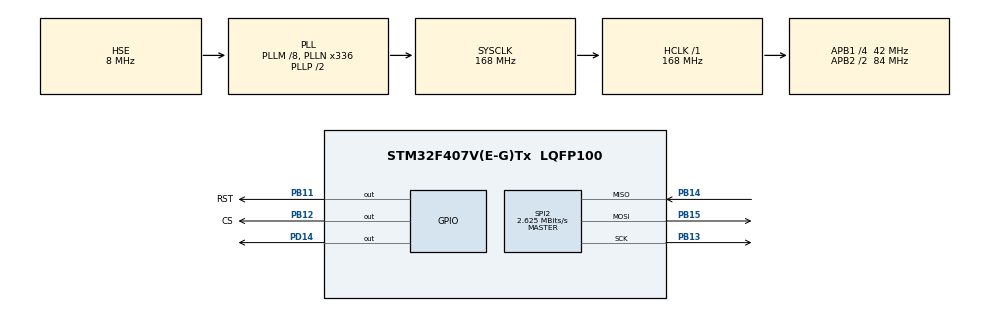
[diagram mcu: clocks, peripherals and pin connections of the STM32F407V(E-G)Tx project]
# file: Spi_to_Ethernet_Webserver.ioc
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FREERTOS.Tasks01=defaultTask,24,128,StartDefaultTask,Default,NULL,Dynamic,NULL,NULL
Mcu.Family=STM32F4
Mcu.Name=STM32F407V(E-G)Tx
Mcu.Package=LQFP100
NVIC.PriorityGroup=NVIC_PRIORITYGROUP_4
PA13.Mode=Trace_Asynchronous_SW
PA13.Signal=SYS_JTMS-SWDIO
PA14.Mode=Trace_Asynchronous_SW
PA14.Signal=SYS_JTCK-SWCLK
PB11.GPIO_Label=RST
PB11.GPIO_Speed=GPIO_SPEED_FREQ_HIGH
PB11.PinState=GPIO_PIN_SET
PB11.Signal=GPIO_Output
PB12.GPIO_Label=CS
PB12.GPIO_Speed=GPIO_SPEED_FREQ_HIGH
PB12.PinState=GPIO_PIN_SET
PB12.Signal=GPIO_Output
PB13.Mode=Full_Duplex_Master
PB13.Signal=SPI2_SCK
PB14.Mode=Full_Duplex_Master
PB14.Signal=SPI2_MISO
PB15.Mode=Full_Duplex_Master
PB15.Signal=SPI2_MOSI
PB3.Mode=Trace_Asynchronous_SW
PB3.Signal=SYS_JTDO-SWO
PD14.Signal=GPIO_Output
PH0-OSC_IN.Mode=HSE-External-Oscillator
PH0-OSC_IN.Signal=RCC_OSC_IN
PH1-OSC_OUT.Mode=HSE-External-Oscillator
PH1-OSC_OUT.Signal=RCC_OSC_OUT
ProjectManager.HeapSize=0x200
ProjectManager.StackSize=0x400
ProjectManager.TargetToolchain=STM32CubeIDE
RCC.48MHZClocksFreq_Value=48000000
RCC.AHBFreq_Value=168000000
RCC.APB1CLKDivider=RCC_HCLK_DIV4
RCC.APB1Freq_Value=42000000
RCC.APB1TimFreq_Value=84000000
RCC.APB2CLKDivider=RCC_HCLK_DIV2
RCC.APB2Freq_Value=84000000
RCC.APB2TimFreq_Value=168000000
RCC.CortexFreq_Value=168000000
RCC.HCLKFreq_Value=168000000
RCC.HSE_VALUE=8000000
RCC.HSI_VALUE=16000000
RCC.LSE_VALUE=32768
RCC.PLLM=8
RCC.PLLN=336
RCC.PLLQ=7
RCC.PLLSourceVirtual=RCC_PLLSOURCE_HSE
RCC.SYSCLKFreq_VALUE=168000000
RCC.SYSCLKSource=RCC_SYSCLKSOURCE_PLLCLK
RCC.VCOOutputFreq_Value=336000000
SPI2.BaudRatePrescaler=SPI_BAUDRATEPRESCALER_16
SPI2.CalculateBaudRate=2.625 MBits/s
SPI2.Direction=SPI_DIRECTION_2LINES
SPI2.Mode=SPI_MODE_MASTER
SPI2.VirtualType=VM_MASTER
VP_FREERTOS_VS_CMSIS_V2.Mode=CMSIS_V2
board=STM32F407G-DISC1

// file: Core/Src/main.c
/* USER CODE BEGIN Header */
/**
 ******************************************************************************
 * @file           : main.c
 * @brief          : Main program body
 ******************************************************************************
 * @attention
 *
 * Copyright (c) 2026 STMicroelectronics.
 * All rights reserved.
 *
 * This software is licensed under terms that can be found in the LICENSE file
 * in the root directory of this software component.
 * If no LICENSE file comes with this software, it is provided AS-IS.
 *
 ******************************************************************************
 */
/* USER CODE END Header */
#include "main.h"
#include "cmsis_os.h"

/* USER CODE BEGIN Includes */
#include "freertos.h"
#include "task.h"
#include "wizchip_conf.h"
#include "w5500.h"
#include "stdio.h"
#include "socket.h"
#include <string.h>
/* USER CODE END Includes */

SPI_HandleTypeDef hspi2;

/* Definitions for defaultTask */

/* USER CODE BEGIN PV */
TaskHandle_t T = NULL;
/* USER CODE END PV */

void SystemClock_Config(void);
static void MX_GPIO_Init(void);
static void MX_SPI2_Init(void);
void StartDefaultTask(void *argument);

/* USER CODE BEGIN 0 */
uint8_t tx ={'a'};

static void W5500_Select(void) {
	HAL_GPIO_WritePin(GPIOB, GPIO_PIN_12, GPIO_PIN_RESET);
}
static void W5500_Unselect(void) {
	HAL_GPIO_WritePin(GPIOB, GPIO_PIN_12, GPIO_PIN_SET);
}

static uint8_t W5500_ReadByte(void)
{
    uint8_t tx = 0xFF;
    uint8_t rx;

    HAL_SPI_TransmitReceive(&hspi2, &tx, &rx, 1, HAL_MAX_DELAY);

    return rx;
}

static void W5500_WriteByte(uint8_t tx) {
	HAL_SPI_Transmit(&hspi2, &tx, 1, HAL_MAX_DELAY);
}

static void W5500_ReadBuff(uint8_t *buff, uint16_t len)
{
    uint8_t dummy = 0xFF;

    while(len--)
    {
        HAL_SPI_TransmitReceive(&hspi2, &dummy, buff, 1, HAL_MAX_DELAY);
        buff++;
    }
}

static void W5500_WriteBuff(uint8_t *buff, uint16_t len) {
	HAL_SPI_Transmit(&hspi2, buff, len, HAL_MAX_DELAY);
}

static void W5500_Reset(void) {
	HAL_GPIO_WritePin(GPIOB, GPIO_PIN_11, GPIO_PIN_RESET);
	HAL_Delay(1000);
	HAL_GPIO_WritePin(GPIOB, GPIO_PIN_11, GPIO_PIN_SET);
	HAL_Delay(5);
}

int __io_putchar(int ch) { ITM_SendChar(ch); return ch; }

void webserver(void *argument){
	uint8_t rxBuf[512];
	const char webpage[] =
		"HTTP/1.1 200 OK\r\n"
		"Content-Type: text/html\r\n"
		"Connection: close\r\n"
		"\r\n"

		"<!DOCTYPE html>"
		"<html>"
		"<head>"
		"<meta charset=\"UTF-8\">"
		"<meta name=\"viewport\" content=\"width=device-width, initial-scale=1.0\">"
		"<title>STM32 Web Server</title>"

		"<style>"
		"body{"
		"margin:0;"
		"font-family:Arial,sans-serif;"
		"background:linear-gradient(135deg,#1e3c72,#2a5298);"
		"display:flex;"
		"justify-content:center;"
		"align-items:center;"
		"height:100vh;"
		"}"

		".card{"
		"background:white;"
		"padding:35px;"
		"border-radius:20px;"
		"box-shadow:0 8px 25px rgba(0,0,0,.3);"
		"text-align:center;"
		"width:320px;"
		"}"

		"h1{"
		"color:#1e3c72;"
		"margin-bottom:5px;"
		"}"

		"p{"
		"color:#666;"
		"margin-bottom:25px;"
		"}"

		".btn{"
		"display:block;"
		"width:100%;"
		"padding:15px;"
		"margin:12px 0;"
		"font-size:18px;"
		"font-weight:bold;"
		"border:none;"
		"border-radius:10px;"
		"cursor:pointer;"
		"text-decoration:none;"
		"color:white;"
		"}"

		".on{background:#28a745;}"
		".off{background:#dc3545;}"

		".footer{"
		"margin-top:20px;"
		"font-size:12px;"
		"color:#888;"
		"}"
		"</style>"

		"</head>"

		"<body>"

		"<div class=\"card\">"

		"<h1>STM32 Web Server</h1>"

		"<p>LED Control Panel</p>"

		"<a href=\"/ledon\">"
		"<button class=\"btn on\">LED ON</button>"
		"</a>"

		"<a href=\"/ledoff\">"
		"<button class=\"btn off\">LED OFF</button>"
		"</a>"

		"<div class=\"footer\">"
		"W5500 Ethernet"
		"</div>"

		"</div>"

		"</body>"
		"</html>";

	while(1){
		switch(getSn_SR(0))
				    {
				        case SOCK_ESTABLISHED:
				        {
				            int32_t len;

				            len = recv(0, rxBuf, sizeof(rxBuf)-1);

				            if(len > 0)
				            {
				                rxBuf[len] = '\0';

				                printf("%s\r\n", rxBuf);

				                if(strstr((char*)rxBuf,"GET /ledon"))
				                {
				                    HAL_GPIO_WritePin(GPIOD, GPIO_PIN_14, GPIO_PIN_SET);
				                }

				                if(strstr((char*)rxBuf,"GET /ledoff"))
				                {
				                    HAL_GPIO_WritePin(GPIOD, GPIO_PIN_14, GPIO_PIN_RESET);
				                }

				                send(0,(uint8_t*)webpage,strlen(webpage));

				                disconnect(0);
				            }

				            break;
				        }

				        case SOCK_CLOSE_WAIT:
				            disconnect(0);
				            break;

				        case SOCK_CLOSED:
				            socket(0, Sn_MR_TCP, 80, 0);
				            listen(0);
				            break;
				    }
	}
}

void Ether_init(void *argument){
	while(1)
	{	uint8_t tx_size[8] = { 2, 2, 2, 2, 2, 2, 2, 2 };
		uint8_t rx_size[8] = { 2, 2, 2, 2, 2, 2, 2, 2 };

		wiz_NetInfo net_info =
		{
		    .mac  = {0x00,0x08,0xDC,0x11,0x11,0x11},
		    .ip   = {192,168,5,50},
		    .sn   = {255,255,255,0},
		    .gw   = {192,168,5,1},
		    .dns  = {8,8,8,8},
		    .dhcp = NETINFO_STATIC
		};
	//
		W5500_Reset();

		reg_wizchip_cs_cbfunc(W5500_Select, W5500_Unselect);
		reg_wizchip_spi_cbfunc(W5500_ReadByte, W5500_WriteByte);
		reg_wizchip_spiburst_cbfunc(W5500_ReadBuff, W5500_WriteBuff);

		if (wizchip_init(tx_size, rx_size) == -1) {
			Error_Handler();
		}
		wizchip_setnetinfo(&net_info);
		uint8_t version = getVERSIONR();
		printf("VERSION = %d\r\n", version);
		wiz_NetInfo net;

		wizchip_getnetinfo(&net);

		printf("MAC : %02X:%02X:%02X:%02X:%02X:%02X\r\n",
		       net.mac[0], net.mac[1], net.mac[2],
		       net.mac[3], net.mac[4], net.mac[5]);

		printf("IP  : %d.%d.%d.%d\r\n",
		       net.ip[0], net.ip[1], net.ip[2], net.ip[3]);

		printf("SN  : %d.%d.%d.%d\r\n",
		       net.sn[0], net.sn[1], net.sn[2], net.sn[3]);

		printf("GW  : %d.%d.%d.%d\r\n",
		       net.gw[0], net.gw[1], net.gw[2], net.gw[3]);

		printf("DNS : %d.%d.%d.%d\r\n",
		       net.dns[0], net.dns[1], net.dns[2], net.dns[3]);
		uint8_t link_state;

		do
		{
		    ctlwizchip(CW_GET_PHYLINK, &link_state);
		    printf("PHY = %d\r\n", link_state);
		} while (link_state == PHY_LINK_OFF);

		printf("PHY = %d\r\n", link_state);
		socket(0, Sn_MR_TCP, 80, 0);
		listen(0);

		printf("TCP Server Started\r\n");
vTaskDelete(T);
	}
}
/* USER CODE END 0 */

int main(void)
{

  /* MCU Configuration--------------------------------------------------------*/

  /* Reset of all peripherals, Initializes the Flash interface and the Systick. */
  HAL_Init();

  /* Configure the system clock */
  SystemClock_Config();

  /* Initialize all configured peripherals */
  MX_GPIO_Init();
  MX_SPI2_Init();
  /* USER CODE BEGIN 2 */
  printf("printfworks\n");

  if (HAL_SPI_GetState(&hspi2) != HAL_SPI_STATE_READY)
  {
printf("fault\n");  }

xTaskCreate(Ether_init, "Ether_init", 100, NULL, 8, &T);
xTaskCreate(webserver, "webserver", 100, NULL, 7, NULL);
vTaskStartScheduler();
  /* USER CODE END 2 */

  /* Init scheduler */

  /* Create the thread(s) */
  /* creation of defaultTask */

  /* Start scheduler */

  /* We should never get here as control is now taken by the scheduler */

  /* Infinite loop */
	while (1) {

		}
}

void SystemClock_Config(void)
{
  RCC_OscInitTypeDef RCC_OscInitStruct = {0};
  RCC_ClkInitTypeDef RCC_ClkInitStruct = {0};

  /** Configure the main internal regulator output voltage
  */
  __HAL_RCC_PWR_CLK_ENABLE();
  __HAL_PWR_VOLTAGESCALING_CONFIG(PWR_REGULATOR_VOLTAGE_SCALE1);

  /** Initializes the RCC Oscillators according to the specified parameters
  * in the RCC_OscInitTypeDef structure.
  */
  RCC_OscInitStruct.OscillatorType = RCC_OSCILLATORTYPE_HSE;
  RCC_OscInitStruct.HSEState = RCC_HSE_ON;
  RCC_OscInitStruct.PLL.PLLState = RCC_PLL_ON;
  RCC_OscInitStruct.PLL.PLLSource = RCC_PLLSOURCE_HSE;
  RCC_OscInitStruct.PLL.PLLM = 8;
  RCC_OscInitStruct.PLL.PLLN = 336;
  RCC_OscInitStruct.PLL.PLLP = RCC_PLLP_DIV2;
  RCC_OscInitStruct.PLL.PLLQ = 7;
  if (HAL_RCC_OscConfig(&RCC_OscInitStruct) != HAL_OK)
  {
    Error_Handler();
  }

  /** Initializes the CPU, AHB and APB buses clocks
  */
  RCC_ClkInitStruct.ClockType = RCC_CLOCKTYPE_HCLK|RCC_CLOCKTYPE_SYSCLK
                              |RCC_CLOCKTYPE_PCLK1|RCC_CLOCKTYPE_PCLK2;
  RCC_ClkInitStruct.SYSCLKSource = RCC_SYSCLKSOURCE_PLLCLK;
  RCC_ClkInitStruct.AHBCLKDivider = RCC_SYSCLK_DIV1;
  RCC_ClkInitStruct.APB1CLKDivider = RCC_HCLK_DIV4;
  RCC_ClkInitStruct.APB2CLKDivider = RCC_HCLK_DIV2;

  if (HAL_RCC_ClockConfig(&RCC_ClkInitStruct, FLASH_LATENCY_5) != HAL_OK)
  {
    Error_Handler();
  }
}

static void MX_SPI2_Init(void)
{

  /* SPI2 parameter configuration*/
  hspi2.Instance = SPI2;
  hspi2.Init.Mode = SPI_MODE_MASTER;
  hspi2.Init.Direction = SPI_DIRECTION_2LINES;
  hspi2.Init.DataSize = SPI_DATASIZE_8BIT;
  hspi2.Init.CLKPolarity = SPI_POLARITY_LOW;
  hspi2.Init.CLKPhase = SPI_PHASE_1EDGE;
  hspi2.Init.NSS = SPI_NSS_SOFT;
  hspi2.Init.BaudRatePrescaler = SPI_BAUDRATEPRESCALER_16;
  hspi2.Init.FirstBit = SPI_FIRSTBIT_MSB;
  hspi2.Init.TIMode = SPI_TIMODE_DISABLE;
  hspi2.Init.CRCCalculation = SPI_CRCCALCULATION_DISABLE;
  hspi2.Init.CRCPolynomial = 10;
  if (HAL_SPI_Init(&hspi2) != HAL_OK)
  {
    Error_Handler();
  }

}

static void MX_GPIO_Init(void)
{
  GPIO_InitTypeDef GPIO_InitStruct = {0};

  /* GPIO Ports Clock Enable */
  __HAL_RCC_GPIOH_CLK_ENABLE();
  __HAL_RCC_GPIOB_CLK_ENABLE();
  __HAL_RCC_GPIOD_CLK_ENABLE();
  __HAL_RCC_GPIOA_CLK_ENABLE();

  /*Configure GPIO pin Output Level */
  HAL_GPIO_WritePin(GPIOB, RST_Pin|CS_Pin, GPIO_PIN_SET);

  /*Configure GPIO pin Output Level */
  HAL_GPIO_WritePin(GPIOD, GPIO_PIN_14, GPIO_PIN_RESET);

  /*Configure GPIO pins : RST_Pin CS_Pin */
  GPIO_InitStruct.Pin = RST_Pin|CS_Pin;
  GPIO_InitStruct.Mode = GPIO_MODE_OUTPUT_PP;
  GPIO_InitStruct.Pull = GPIO_NOPULL;
  GPIO_InitStruct.Speed = GPIO_SPEED_FREQ_HIGH;
  HAL_GPIO_Init(GPIOB, &GPIO_InitStruct);

  /*Configure GPIO pin : PD14 */
  GPIO_InitStruct.Pin = GPIO_PIN_14;
  GPIO_InitStruct.Mode = GPIO_MODE_OUTPUT_PP;
  GPIO_InitStruct.Pull = GPIO_NOPULL;
  GPIO_InitStruct.Speed = GPIO_SPEED_FREQ_LOW;
  HAL_GPIO_Init(GPIOD, &GPIO_InitStruct);

}

void StartDefaultTask(void *argument)
{
  for(;;)
  {
    osDelay(1);
  }
}

void Error_Handler(void)
{
	__disable_irq();
	while (1) {
	}
}
